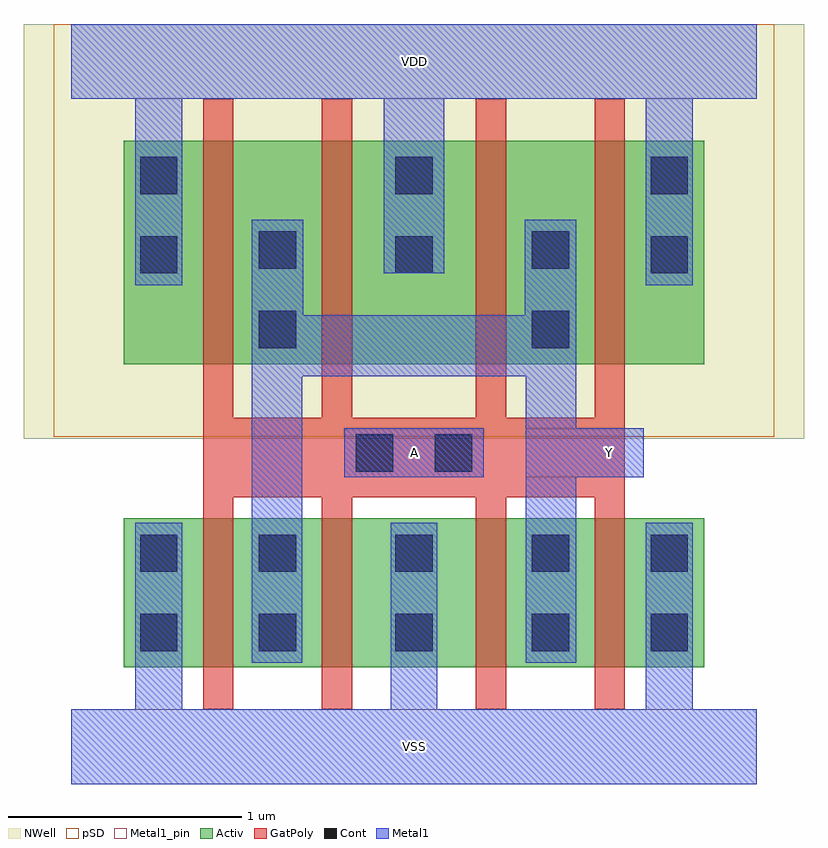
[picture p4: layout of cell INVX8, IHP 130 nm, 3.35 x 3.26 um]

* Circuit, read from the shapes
.subckt INVX8 A VDD VSS Y
XM1 Y A VSS VSUBS sg13_lv_nmos w=0.64u l=0.13u m=4
XM2 Y A VDD n1 sg13_lv_pmos w=0.96u l=0.13u m=4
.ends

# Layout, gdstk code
import gdstk
lib = gdstk.Library(unit=1e-6, precision=1e-09)
def R(c, l, rs):  # rectangles x0, y0, x1, y1
    for r in rs: c.add(gdstk.rectangle(r[:2], r[2:], *l))
def A(c, l, x, y, w, h, nx, ny, dx, dy):  # array of equal rectangles
    R(c, l, [(x+i*dx, y+j*dy, x+i*dx+w, y+j*dy+h) for i in range(nx) for j in range(ny)])
def P(c, l, *ps):  # polygons
    for p in ps: c.add(gdstk.Polygon(p, *l))
Activ = (1, 0)
GatPoly = (5, 0)
Cont = (6, 0)
Metal1 = (8, 0)
Metal1_pin = (8, 2)
pSD = (14, 0)
NWell = (31, 0)

invx8 = lib.new_cell('INVX8')
R(invx8, Activ, [(0.225,0.34,2.715,0.98), (0.225,1.64,2.715,2.6)])
P(invx8, GatPoly, [(0.565,0.16),(0.565,2.78),(0.695,2.78),(0.695,1.41),(1.075,1.41),(1.075,2.78),(1.205,2.78),(1.205,1.41),(1.735,1.41),(1.735,2.78),(1.865,2.78),(1.865,1.41),(2.245,1.41),(2.245,2.78),(2.375,2.78),(2.375,0.16),(2.245,0.16),(2.245,1.07),(1.865,1.07),(1.865,0.16),(1.735,0.16),(1.735,1.07),(1.205,1.07),(1.205,0.16),(1.075,0.16),(1.075,1.07),(0.695,1.07),(0.695,0.16)])
A(invx8, Cont, 0.805, 0.41, 0.16, 0.16, 3, 2, 0.585, 0.34)
A(invx8, Cont, 0.295, 2.03, 0.16, 0.16, 3, 2, 1.095, 0.34)
R(invx8, Cont, [(0.295,0.41,0.455,0.57), (2.485,0.41,2.645,0.57), (0.295,0.75,0.455,0.91), (2.485,0.75,2.645,0.91), (1.22,1.18,1.38,1.34), (1.56,1.18,1.72,1.34), (0.805,1.71,0.965,1.87), (1.975,1.71,2.135,1.87), (0.805,2.05,0.965,2.21), (1.975,2.05,2.135,2.21)])
R(invx8, Metal1, [(1.17,1.155,1.77,1.365)])
P(invx8, Metal1, [(0,-0.16),(0,0.16),(0.275,0.16),(0.275,0.96),(0.475,0.96),(0.475,0.16),(1.37,0.16),(1.37,0.96),(1.57,0.96),(1.57,0.16),(2.465,0.16),(2.465,0.96),(2.665,0.96),(2.665,0.16),(2.94,0.16),(2.94,-0.16)],
  [(0.275,1.98),(0.275,2.78),(0,2.78),(0,3.1),(2.94,3.1),(2.94,2.78),(2.665,2.78),(2.665,1.98),(2.465,1.98),(2.465,2.78),(1.6,2.78),(1.6,2.03),(1.34,2.03),(1.34,2.78),(0.475,2.78),(0.475,1.98)],
  [(0.775,0.36),(0.775,2.26),(0.995,2.26),(0.995,1.85),(1.945,1.85),(1.945,2.26),(2.165,2.26),(2.165,1.365),(2.455,1.365),(2.455,1.155),(2.165,1.155),(2.165,0.36),(1.95,0.36),(1.95,1.59),(0.99,1.59),(0.99,0.36)])
R(invx8, Metal1_pin, [(0,-0.16,2.94,0.16), (1.17,1.155,1.77,1.365), (1.95,1.155,2.455,1.365), (0,2.78,2.94,3.1)])
R(invx8, pSD, [(-0.075,1.33,3.015,3.1)])
R(invx8, NWell, [(-0.205,1.32,3.145,3.1)])
invx8.add(gdstk.Label('A', (1.47,1.26), layer=8, texttype=25))
invx8.add(gdstk.Label('VSS', (1.47,0), layer=8, texttype=25))
invx8.add(gdstk.Label('VDD', (1.47,2.94), layer=8, texttype=25))
invx8.add(gdstk.Label('Y', (2.31,1.26), layer=8, texttype=25))

lib.write_gds('INVX8.gds')
